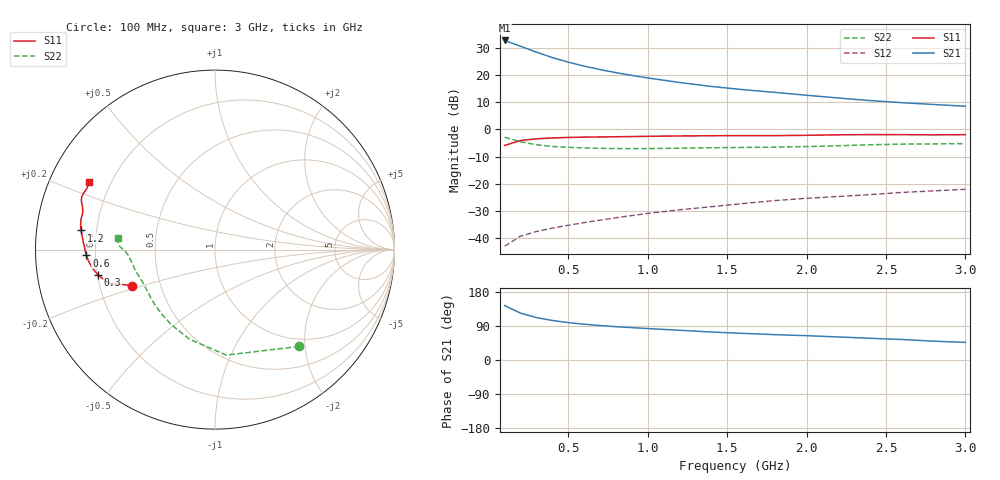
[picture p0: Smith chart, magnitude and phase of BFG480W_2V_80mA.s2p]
! Filename: 280BFG480.001
! Title: BFG480W
! Bias: Vce=2V; Ic=80mA
! Company: Philips Semiconductors NL
! User: Quality&Reliability T&D
! Measure time: 10 Nov 1999 / 11:54:36
#  MHz  S  MA  R 50
! Freq  S11  S21  S12  S22  :
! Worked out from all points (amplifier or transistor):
!   20 points, 100 MHz to 3 GHz, reference 50 ohm
!   highest |S21| = 32.6 dB at 100 MHz (marker M1)
!   |S21| within 3 dB of that: start of sweep to 240.7 MHz
!   unconditionally stable (mu >= 1): 707.9 MHz to end of sweep
!   at 400 MHz: K = 0.81, MSG = 31.3 dB, |S12| = -36.3 dB
!   at 1.2 GHz: K = 1.09, MAG = 21.6 dB, |S12| = -29.6 dB
!   at 3 GHz: K = 1.10, MAG = 13.3 dB, |S12| = -22.0 dB
!   S11 on the Smith chart (normalised r, x): 100 MHz: 0.34, -0.18; 300 MHz: 0.20, -0.10; 600 MHz: 0.16, -0.02; 1.2 GHz: 0.14, +0.07; 3 GHz: 0.12, +0.25
100  0.5046 -156.6  42.64 143.7  0.007154 67.4  0.7149 -49.0
200  0.6209 -162.5  33.41 123.6  0.01093 57.8  0.5913 -83.9
300  0.668 -167.9  26.04 112.0  0.01329 56.7  0.5193 -105.8
400  0.6931 -171.8  20.71 104.3  0.01533 58.2  0.4838 -120.3
500  0.7075 -174.8  17.08 98.7  0.01731 60.2  0.465 -130.4
600  0.7176 -177.4  14.43 94.4  0.01935 62.0  0.4541 -137.8
700  0.7238 -179.6  12.48 90.9  0.02148 64.1  0.4468 -143.4
800  0.7285 178.4  10.95 87.9  0.02372 65.9  0.4425 -148.0
900  0.7354 176.6  9.728 85.4  0.02605 67.6  0.441 -151.9
1000  0.7417 174.8  8.755 83.0  0.02855 68.6  0.442 -155.4
1200  0.7534 171.9  7.225 78.4  0.03325 70.2  0.4493 -160.9
1400  0.7616 169.5  6.11 73.9  0.0379 71.2  0.4583 -165.0
1600  0.7654 167.1  5.335 70.2  0.04331 71.9  0.4635 -168.3
1800  0.7645 164.5  4.756 66.9  0.04913 72.4  0.4701 -171.8
2000  0.774 162.3  4.208 64.2  0.05403 72.9  0.4814 -175.6
2200  0.7912 160.2  3.752 60.8  0.05843 73.0  0.4986 -178.7
2400  0.7988 158.5  3.361 57.3  0.06317 72.5  0.519 179.2
2600  0.7966 156.7  3.077 54.1  0.06932 71.8  0.5332 177.9
2800  0.7906 154.4  2.849 49.7  0.07394 70.4  0.5391 176.1
3000  0.7961 151.7  2.647 46.4  0.07921 69.6  0.5454 173.3
